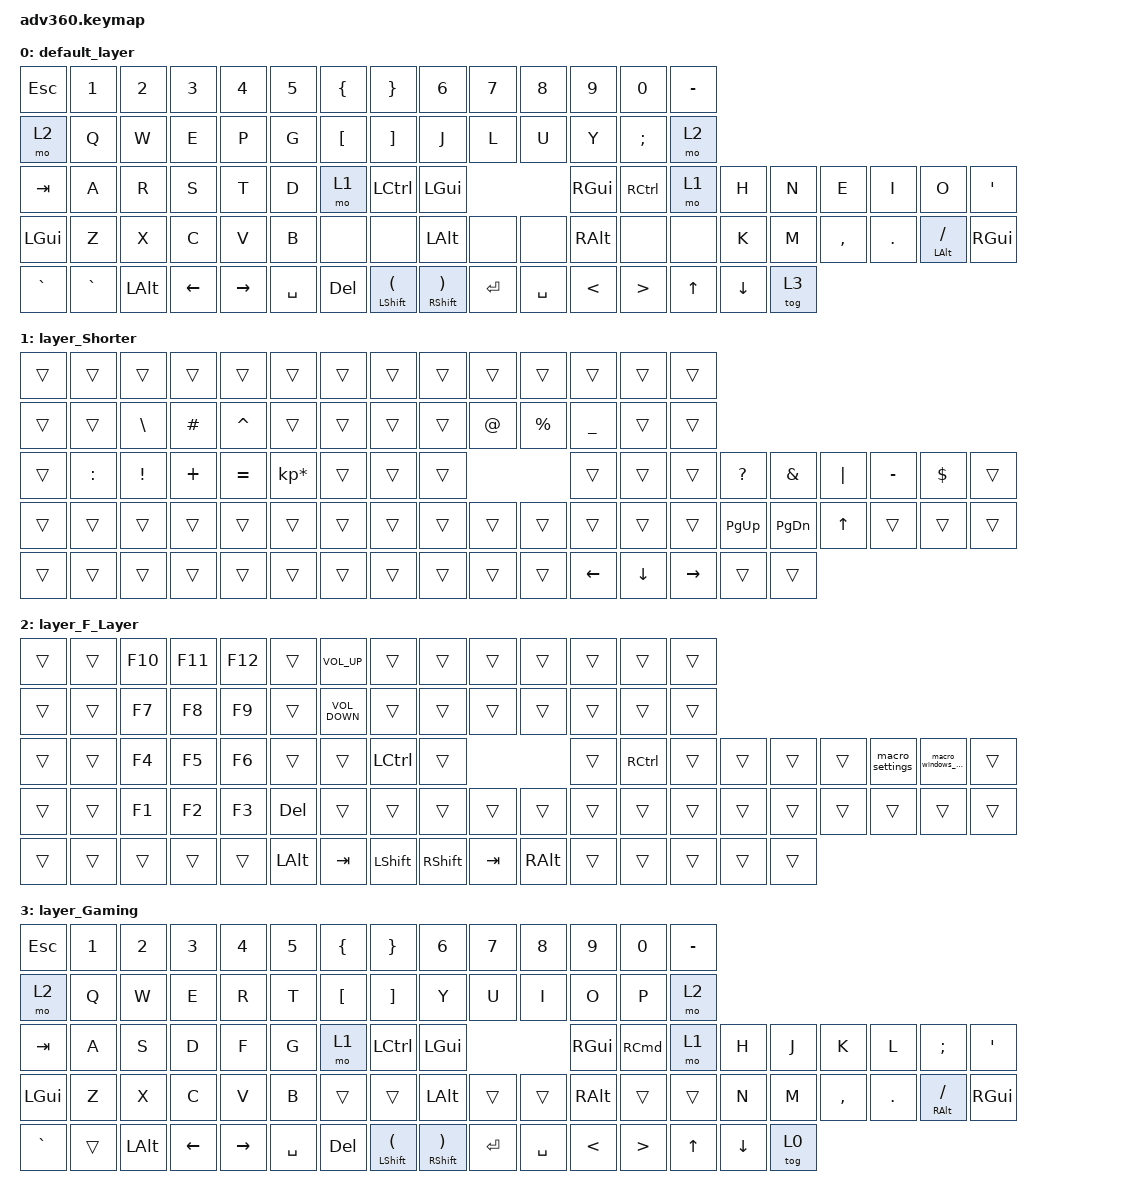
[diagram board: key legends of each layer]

/*
 * Copyright (c) 2020 The ZMK Contributors
 *
 * SPDX-License-Identifier: MIT
 */


/* THIS FILE WAS GENERATED!
 *
 * This file was generated automatically. You may or may not want to
 * edit it directly.
 */

#include <behaviors.dtsi>
#include <dt-bindings/zmk/keys.h>

/ {
  behaviors {
    #include "macros.dtsi"

    hm: homerow_mods {
        compatible = "zmk,behavior-hold-tap";
        label = "HOMEROW_MODS";
        #binding-cells = <2>;
        tapping-term-ms = <200>;
        quick_tap_ms = <175>;
        flavor = "tap-preferred";
        bindings = <&kp>, <&kp>;
    };
  };

    keymap {
        compatible = "zmk,keymap";


        default_layer {
            bindings = <
   &kp ESC     &kp N1        &kp N2    &kp N3     &kp N4     &kp N5            &kp LBRC        &kp RBRC                &kp N6     &kp N7     &kp N8         &kp N9     &kp N0     &kp MINUS
     &mo 2      &kp Q         &kp W     &kp E      &kp P      &kp G            &kp LBKT        &kp RBKT                 &kp J      &kp L      &kp U          &kp Y   &kp SEMI         &mo 2
   &kp TAB      &kp A         &kp R     &kp S      &kp T      &kp D               &mo 1       &kp LCTRL              &kp LGUI                        &kp RIGHT_GUI  &kp RCTRL         &mo 1           &kp H   &kp N      &kp E    &kp I               &kp O   &kp SQT
  &kp LGUI      &kp Z         &kp X     &kp C      &kp V      &kp B               &none           &none          &kp LEFT_ALT      &none      &none  &kp RIGHT_ALT      &none         &none           &kp K   &kp M  &kp COMMA  &kp DOT  &mt LEFT_ALT SLASH  &kp RGUI
 &kp GRAVE  &kp GRAVE  &kp LEFT_ALT  &kp LEFT  &kp RIGHT  &kp SPACE             &kp DEL  &mt LSHFT LPAR  &mt RIGHT_SHIFT RPAR  &kp ENTER  &kp SPACE         &kp LT     &kp GT  &kp UP_ARROW  &kp DOWN_ARROW  &tog 3
            >;
        };

        layer_Shorter {
            bindings = <
 &trans     &trans           &trans     &trans     &trans           &trans            &trans  &trans  &trans       &trans       &trans          &trans          &trans           &trans
 &trans     &trans    &kp BACKSLASH  &kp POUND  &kp CARET           &trans            &trans  &trans  &trans  &kp AT_SIGN  &kp PERCENT  &kp UNDERSCORE          &trans           &trans
 &trans  &kp COLON  &kp EXCLAMATION   &kp PLUS  &kp EQUAL  &kp KP_ASTERISK            &trans  &trans  &trans                                    &trans          &trans           &trans  &kp QUESTION  &kp AMPERSAND      &kp PIPE  &kp MINUS  &kp DOLLAR  &trans
 &trans     &trans           &trans     &trans     &trans           &trans            &trans  &trans  &trans       &trans       &trans          &trans          &trans           &trans   &kp PAGE_UP  &kp PAGE_DOWN  &kp UP_ARROW     &trans      &trans  &trans
 &trans     &trans           &trans     &trans     &trans           &trans            &trans  &trans  &trans       &trans       &trans  &kp LEFT_ARROW  &kp DOWN_ARROW  &kp RIGHT_ARROW        &trans         &trans
            >;
        };

        layer_F_Layer {
            bindings = <
 &trans  &trans  &kp F10  &kp F11  &kp F12        &trans              &kp K_VOLUME_UP            &trans           &trans   &trans         &trans  &trans             &trans  &trans
 &trans  &trans   &kp F7   &kp F8   &kp F9        &trans            &kp K_VOLUME_DOWN            &trans           &trans   &trans         &trans  &trans             &trans  &trans
 &trans  &trans   &kp F4   &kp F5   &kp F6        &trans                       &trans  &kp LEFT_CONTROL           &trans                          &trans  &kp RIGHT_CONTROL  &trans  &trans  &trans  &trans  &macro_settings  &macro_windows_lock  &trans
 &trans  &trans   &kp F1   &kp F2   &kp F3    &kp DELETE                       &trans            &trans           &trans   &trans         &trans  &trans             &trans  &trans  &trans  &trans  &trans           &trans               &trans  &trans
 &trans  &trans   &trans   &trans   &trans  &kp LEFT_ALT                      &kp TAB    &kp LEFT_SHIFT  &kp RIGHT_SHIFT  &kp TAB  &kp RIGHT_ALT  &trans             &trans  &trans  &trans  &trans
            >;
        };

        layer_Gaming {
            bindings = <
 &kp ESCAPE  &kp N1        &kp N2          &kp N3           &kp N4     &kp N5              &kp LBRC             &kp RBRC                &kp N6     &kp N7     &kp N8         &kp N9    &kp N0     &kp MINUS
      &mo 2   &kp Q         &kp W           &kp E            &kp R      &kp T              &kp LBKT             &kp RBKT                 &kp Y      &kp U      &kp I          &kp O     &kp P         &mo 2
    &kp TAB   &kp A         &kp S           &kp D            &kp F      &kp G                 &mo 1            &kp LCTRL              &kp LGUI                             &kp RGUI  &kp RCMD         &mo 1           &kp H   &kp J      &kp K       &kp L        &kp SEMICOLON        &kp SQT
   &kp LGUI   &kp Z         &kp X           &kp C            &kp V      &kp B                &trans               &trans          &kp LEFT_ALT     &trans     &trans  &kp RIGHT_ALT    &trans        &trans           &kp N   &kp M  &kp COMMA  &kp PERIOD  &mt RIGHT_ALT SLASH  &kp RIGHT_GUI
  &kp GRAVE  &trans  &kp LEFT_ALT  &kp LEFT_ARROW  &kp RIGHT_ARROW  &kp SPACE            &kp DELETE  &mt LEFT_SHIFT LPAR  &mt RIGHT_SHIFT RPAR  &kp ENTER  &kp SPACE         &kp LT    &kp GT  &kp UP_ARROW  &kp DOWN_ARROW  &tog 0
            >;
        };

    };
};
